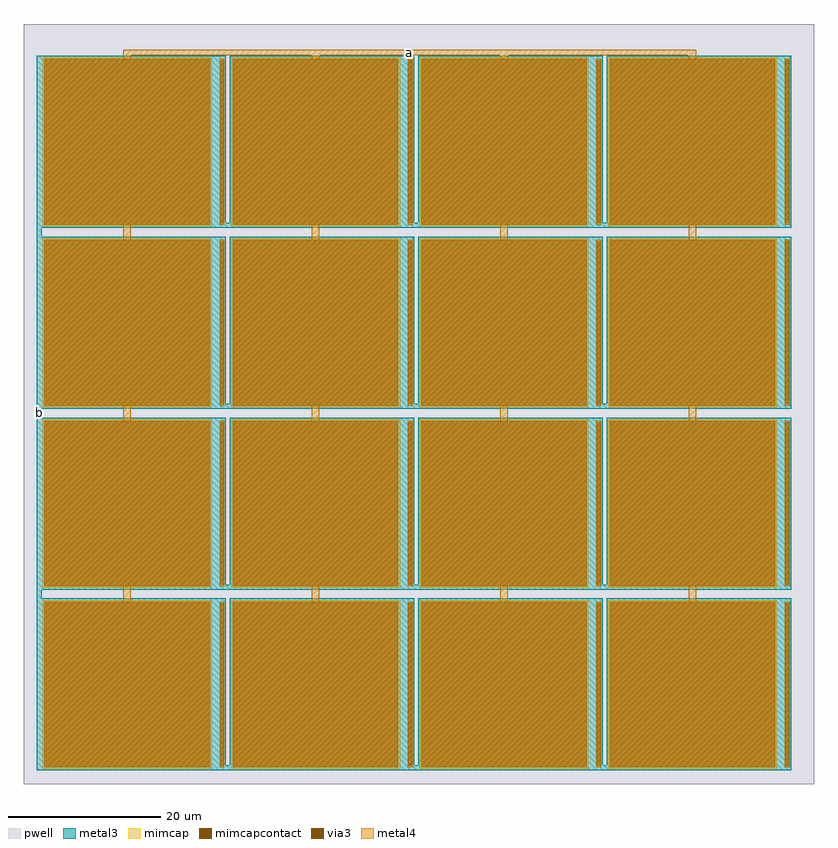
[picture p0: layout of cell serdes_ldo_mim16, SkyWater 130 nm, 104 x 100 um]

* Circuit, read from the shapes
.subckt serdes_ldo_mim16 a b
XC1 a b sky130_fd_pr__cap_mim_m3_1 w=22.2 l=22.2 m=16
.ends

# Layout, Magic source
magic
tech sky130A
magscale 1 2
<< pwell >>
rect 0 0 20800 20000
<< metal3 >>
rect 456 356 5310 4884
rect 5416 356 10270 4884
rect 10376 356 15230 4884
rect 15336 356 20190 4884
rect 400 356 20190 490
rect 456 5116 5310 9644
rect 5416 5116 10270 9644
rect 10376 5116 15230 9644
rect 15336 5116 20190 9644
rect 400 5116 20190 5250
rect 456 9876 5310 14404
rect 5416 9876 10270 14404
rect 10376 9876 15230 14404
rect 15336 9876 20190 14404
rect 400 9876 20190 10010
rect 456 14636 5310 19164
rect 5416 14636 10270 19164
rect 10376 14636 15230 19164
rect 15336 14636 20190 19164
rect 400 14636 20190 14770
rect 340 356 470 19164
<< mimcap >>
rect 500 400 4940 4840
rect 5460 400 9900 4840
rect 10420 400 14860 4840
rect 15380 400 19820 4840
rect 500 5160 4940 9600
rect 5460 5160 9900 9600
rect 10420 5160 14860 9600
rect 15380 5160 19820 9600
rect 500 9920 4940 14360
rect 5460 9920 9900 14360
rect 10420 9920 14860 14360
rect 15380 9920 19820 14360
rect 500 14680 4940 19120
rect 5460 14680 9900 19120
rect 10420 14680 14860 19120
rect 15380 14680 19820 19120
<< mimcapcontact >>
rect 540 440 4900 4800
rect 5500 440 9860 4800
rect 10460 440 14820 4800
rect 15420 440 19780 4800
rect 540 5200 4900 9560
rect 5500 5200 9860 9560
rect 10460 5200 14820 9560
rect 15420 5200 19780 9560
rect 540 9960 4900 14320
rect 5500 9960 9860 14320
rect 10460 9960 14820 14320
rect 15420 9960 19780 14320
rect 540 14720 4900 19080
rect 5500 14720 9860 19080
rect 10460 14720 14820 19080
rect 15420 14720 19780 19080
<< metal4 >>
rect 540 440 4900 4800
rect 5150 440 5270 4800
rect 5500 440 9860 4800
rect 10110 440 10230 4800
rect 10460 440 14820 4800
rect 15070 440 15190 4800
rect 15420 440 19780 4800
rect 20030 440 20150 4800
rect 540 5200 4900 9560
rect 5150 5200 5270 9560
rect 5500 5200 9860 9560
rect 10110 5200 10230 9560
rect 10460 5200 14820 9560
rect 15070 5200 15190 9560
rect 15420 5200 19780 9560
rect 20030 5200 20150 9560
rect 540 9960 4900 14320
rect 5150 9960 5270 14320
rect 5500 9960 9860 14320
rect 10110 9960 10230 14320
rect 10460 9960 14820 14320
rect 15070 9960 15190 14320
rect 15420 9960 19780 14320
rect 20030 9960 20150 14320
rect 540 14720 4900 19080
rect 5150 14720 5270 19080
rect 5500 14720 9860 19080
rect 10110 14720 10230 19080
rect 10460 14720 14820 19080
rect 15070 14720 15190 19080
rect 15420 14720 19780 19080
rect 20030 14720 20150 19080
rect 2620 500 2820 19284
rect 7580 500 7780 19284
rect 12540 500 12740 19284
rect 17500 500 17700 19284
rect 2620 19184 17700 19324
<< via3 >>
rect 5166 480 5254 4760
rect 10126 480 10214 4760
rect 15086 480 15174 4760
rect 20046 480 20134 4760
rect 5166 5240 5254 9520
rect 10126 5240 10214 9520
rect 15086 5240 15174 9520
rect 20046 5240 20134 9520
rect 5166 10000 5254 14280
rect 10126 10000 10214 14280
rect 15086 10000 15174 14280
rect 20046 10000 20134 14280
rect 5166 14760 5254 19040
rect 10126 14760 10214 19040
rect 15086 14760 15174 19040
rect 20046 14760 20134 19040
<< labels >>
rlabel metal4 10160 19254 10160 19254 1 a
rlabel metal3 404 9782 404 9782 1 b
<< end >>
